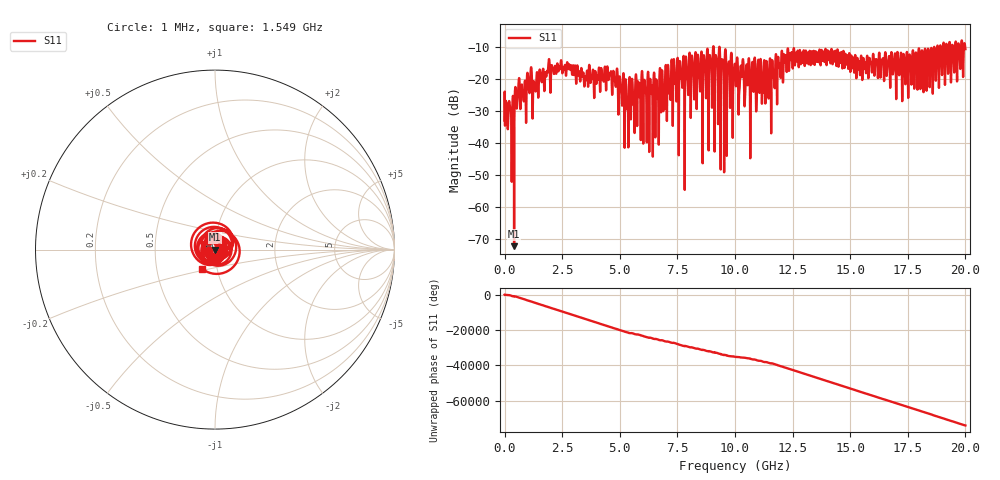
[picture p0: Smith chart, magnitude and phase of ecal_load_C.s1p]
! MS46122B
! 2250307/22442219
! 6/14/2025 10:15:31 AM
! C:\USERS\SPARKY\DOCUMENTS\VNA_DATA\JUNE14_2025\295K\ECAL_LOAD_C.S1P
! CHANNEL.1
! TR.MEASUREMENT
! RAW.DATA
# GHZ S RI R 50.0
! FREQ.GHZ  S11RE  S11IM
!; PortSelection: Port_1
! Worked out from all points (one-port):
!   10001 points, 1 MHz to 20 GHz, reference 50 ohm
!   lowest |S11| = -72.1 dB at 413 MHz (marker M1), VSWR 1.00, Z = 50 + j0.0248 ohm
!   |S11| at or under -10 dB: start of sweep to 9.055 GHz; 9.071 GHz to 9.322 GHz (251.2 MHz wide, 2.73 % of centre); 9.327 GHz to 18.78 GHz (9.449 GHz wide, 67.2 % of centre) (the widest 3 of 13)
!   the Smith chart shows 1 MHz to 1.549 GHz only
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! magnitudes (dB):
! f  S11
! 1 MHz  -33.0
! 333 MHz  -30.2
! 413 MHz  -72.1
! 551 MHz  -27.5
! 857 MHz  -23.2
! 1.075 GHz  -24.3
! 1.285 GHz  -21.5
! 1.863 GHz  -17.6
! 2.501 GHz  -18.1
! 3.813 GHz  -18.4
! 4.535 GHz  -18.8
! 5.001 GHz  -19.3
! 5.293 GHz  -26.5
! 5.487 GHz  -30.0
! 5.563 GHz  -23.3
! 6.031 GHz  -27.1
! 6.615 GHz  -23.8
! 7.061 GHz  -21.2
! 7.501 GHz  -13.8
! 8.087 GHz  -25.3
! 8.933 GHz  -13.9
! 8.991 GHz  -20.1
! 10 GHz  -15.3
! 11.49 GHz  -16.4
! 12.5 GHz  -16.5
! 15 GHz  -17.4
! 17.5 GHz  -17.5
! 20 GHz  -10.7
